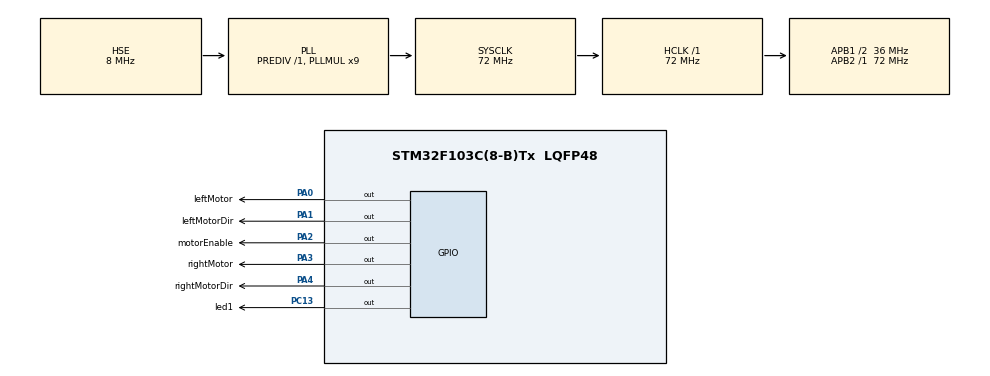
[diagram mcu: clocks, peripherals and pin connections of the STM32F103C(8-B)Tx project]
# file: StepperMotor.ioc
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Mcu.Family=STM32F1
Mcu.Name=STM32F103C(8-B)Tx
Mcu.Package=LQFP48
NVIC.PriorityGroup=NVIC_PRIORITYGROUP_4
NVIC.TIM2_IRQn=true\:0\:0\:false\:false\:true\:true
PA0-WKUP.GPIO_Label=leftMotor
PA0-WKUP.GPIO_ModeDefaultOutputPP=GPIO_MODE_OUTPUT_PP
PA0-WKUP.GPIO_Speed=GPIO_SPEED_FREQ_HIGH
PA0-WKUP.Signal=GPIO_Output
PA1.GPIO_Label=leftMotorDir
PA1.GPIO_Speed=GPIO_SPEED_FREQ_HIGH
PA1.Signal=GPIO_Output
PA13.Mode=Serial_Wire
PA13.Signal=SYS_JTMS-SWDIO
PA14.Mode=Serial_Wire
PA14.Signal=SYS_JTCK-SWCLK
PA2.GPIO_Label=motorEnable
PA2.GPIO_Speed=GPIO_SPEED_FREQ_HIGH
PA2.Signal=GPIO_Output
PA3.GPIO_Label=rightMotor
PA3.Signal=GPIO_Output
PA4.GPIO_Label=rightMotorDir
PA4.Signal=GPIO_Output
PC13-TAMPER-RTC.GPIO_Label=led1
PC13-TAMPER-RTC.Signal=GPIO_Output
PD0-OSC_IN.Mode=HSE-External-Oscillator
PD0-OSC_IN.Signal=RCC_OSC_IN
PD1-OSC_OUT.Mode=HSE-External-Oscillator
PD1-OSC_OUT.Signal=RCC_OSC_OUT
ProjectManager.HeapSize=0x200
ProjectManager.StackSize=0x400
ProjectManager.TargetToolchain=SW4STM32
RCC.AHBFreq_Value=72000000
RCC.APB1CLKDivider=RCC_HCLK_DIV2
RCC.APB1Freq_Value=36000000
RCC.APB1TimFreq_Value=72000000
RCC.APB2Freq_Value=72000000
RCC.APB2TimFreq_Value=72000000
RCC.HCLKFreq_Value=72000000
RCC.PLLMUL=RCC_PLL_MUL9
RCC.PLLSourceVirtual=RCC_PLLSOURCE_HSE
RCC.SYSCLKFreq_VALUE=72000000
RCC.SYSCLKSource=RCC_SYSCLKSOURCE_PLLCLK
RCC.USBFreq_Value=72000000
TIM2.Period=10000
TIM2.Prescaler=9
VP_TIM2_VS_ClockSourceINT.Mode=Internal
board=StepperMotor

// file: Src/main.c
/**
 ******************************************************************************
 * File Name          : main.c
 * Description        : Main program body
 ******************************************************************************
 ** This notice applies to any and all portions of this file
 * that are not between comment pairs USER CODE BEGIN and
 * USER CODE END. Other portions of this file, whether
 * inserted by the user or by software development tools
 * are owned by their respective copyright owners.
 *
 * COPYRIGHT(c) 2018 STMicroelectronics
 *
 * Redistribution and use in source and binary forms, with or without modification,
 * are permitted provided that the following conditions are met:
 *   1. Redistributions of source code must retain the above copyright notice,
 *      this list of conditions and the following disclaimer.
 *   2. Redistributions in binary form must reproduce the above copyright notice,
 *      this list of conditions and the following disclaimer in the documentation
 *      and/or other materials provided with the distribution.
 *   3. Neither the name of STMicroelectronics nor the names of its contributors
 *      may be used to endorse or promote products derived from this software
 *      without specific prior written permission.
 *
 * THIS SOFTWARE IS PROVIDED BY THE COPYRIGHT HOLDERS AND CONTRIBUTORS "AS IS"
 * AND ANY EXPRESS OR IMPLIED WARRANTIES, INCLUDING, BUT NOT LIMITED TO, THE
 * IMPLIED WARRANTIES OF MERCHANTABILITY AND FITNESS FOR A PARTICULAR PURPOSE ARE
 * DISCLAIMED. IN NO EVENT SHALL THE COPYRIGHT HOLDER OR CONTRIBUTORS BE LIABLE
 * FOR ANY DIRECT, INDIRECT, INCIDENTAL, SPECIAL, EXEMPLARY, OR CONSEQUENTIAL
 * DAMAGES (INCLUDING, BUT NOT LIMITED TO, PROCUREMENT OF SUBSTITUTE GOODS OR
 * SERVICES; LOSS OF USE, DATA, OR PROFITS; OR BUSINESS INTERRUPTION) HOWEVER
 * CAUSED AND ON ANY THEORY OF LIABILITY, WHETHER IN CONTRACT, STRICT LIABILITY,
 * OR TORT (INCLUDING NEGLIGENCE OR OTHERWISE) ARISING IN ANY WAY OUT OF THE USE
 * OF THIS SOFTWARE, EVEN IF ADVISED OF THE POSSIBILITY OF SUCH DAMAGE.
 *
 ******************************************************************************
 */

#include "main.h"
#include "stm32f1xx_hal.h"

TIM_HandleTypeDef htim2;

/* USER CODE BEGIN PV */
/* Private variables ---------------------------------------------------------*/
int initialValue;
int delayValue;
int loopFlag = 0;
int period;
int initialDelay;

MotorInfo rightMotorInfo, leftMotorInfo;
/* USER CODE END PV */

void SystemClock_Config(void);
static void MX_GPIO_Init(void);
static void MX_TIM2_Init(void);

/* USER CODE BEGIN PFP */
/* Private function prototypes -----------------------------------------------*/
void rampMotorTo(int delayValue);
void rampMotorExp(int delayValue, int initialValue);
void rampMotorExpIt(int delayValue, int initialValue);
void pulsePin(int pin);
void pulseMotorOnTimeout(MotorInfo *motor);
//void Calculation(AngleSpeed *MainInfo , MotorInfo *leftMotor , MotorInfo *rightMotor);
void calculation(AngleSpeed *MainInfo, MotorInfo *leftMotor,
		MotorInfo *rightMotor);
int getSlowRatio(int angle);
int getQuadrant(int angle);
/* USER CODE END PFP */

/* USER CODE BEGIN 0 */
void delay(volatile unsigned int delay) {
	while (delay--)
		;
}

/* USER CODE END 0 */

int main(void) {

	/* USER CODE BEGIN 1 */
	volatile int i = 1;
	/* USER CODE END 1 */

	/* MCU Configuration----------------------------------------------------------*/

	/* Reset of all peripherals, Initializes the Flash interface and the Systick. */
	HAL_Init();

	/* Configure the system clock */
	SystemClock_Config();

	/* Initialize all configured peripherals */
	MX_GPIO_Init();
	MX_TIM2_Init();

	/* Infinite loop */
	/* USER CODE BEGIN WHILE */
//  rampMotorExp(750, 20000);
//  rampMotorTo(750);
	/*leftMotorInfo.reloadPeriod = 800;
	 leftMotorInfo.stepPeriod = 20000;
	 leftMotorInfo.prevStepPeriod= 20000;
	 leftMotorInfo.expDelay = 72000000 / (ACCELERATION * leftMotorInfo.stepPeriod);

	 rightMotorInfo.reloadPeriod = 2500;
	 rightMotorInfo.stepPeriod = 15000;
	 rightMotorInfo.prevStepPeriod= 15000;
	 rightMotorInfo.expDelay = 72000000 / (ACCELERATION * rightMotorInfo.stepPeriod);

	 htim2.Init.Period = rightMotorInfo.stepPeriod;
	 HAL_TIM_Base_Init(&htim2);
	 HAL_TIM_Base_Start_IT(&htim2);*/

	HAL_GPIO_WritePin(motorEnable_GPIO_Port, motorEnable_Pin, 0);
	leftMotorInfo.stepPeriod = 67500;
	leftMotorInfo.prevStepPeriod = 67500;

	rightMotorInfo.stepPeriod = 67500;
	rightMotorInfo.prevStepPeriod = 67500;

	AngleSpeed angleSpeed = { .Speed = 50, .Angle = 0 };
	calculation(&angleSpeed, &leftMotorInfo, &rightMotorInfo);
	htim2.Init.Period = rightMotorInfo.stepPeriod;
	HAL_TIM_Base_Init(&htim2);
	HAL_TIM_Base_Start_IT(&htim2);
	while (1) {
		HAL_Delay(5000);
		angleSpeed.Speed = 100;
		angleSpeed.Angle = 180;
		calculation(&angleSpeed, &leftMotorInfo, &rightMotorInfo);

		HAL_Delay(5000);
		angleSpeed.Speed = 100;
		angleSpeed.Angle = 0;
		calculation(&angleSpeed, &leftMotorInfo, &rightMotorInfo);
		/*HAL_Delay(3000);
		angleSpeed.Speed = 100;
		angleSpeed.Angle = 90;
		calculation(&angleSpeed, &leftMotorInfo, &rightMotorInfo);

		HAL_Delay(3000);
		angleSpeed.Speed = 100;
		angleSpeed.Angle = 135;
		calculation(&angleSpeed, &leftMotorInfo, &rightMotorInfo);

		HAL_Delay(3000);
		angleSpeed.Speed = 100;
		angleSpeed.Angle = 180;
		calculation(&angleSpeed, &leftMotorInfo, &rightMotorInfo);

		HAL_Delay(3000);
		angleSpeed.Speed = 100;
		angleSpeed.Angle = 225;
		calculation(&angleSpeed, &leftMotorInfo, &rightMotorInfo);

		HAL_Delay(3000);
		angleSpeed.Speed = 100;
		angleSpeed.Angle = 270;
		calculation(&angleSpeed, &leftMotorInfo, &rightMotorInfo);*/

		//few things to update when android command comes:
		// 1.
		/*HAL_Delay(3000);
		 leftMotorInfo.reloadPeriod = 20000;
		 rightMotorInfo.reloadPeriod = 20000;
		 rightMotorInfo.expDelay = 72000000 / (ACCELERATION * rightMotorInfo.prevStepPeriod);
		 leftMotorInfo.expDelay = 72000000 / (ACCELERATION * leftMotorInfo.prevStepPeriod);

		 HAL_Delay(1000);
		 leftMotorInfo.reloadPeriod = 2500;
		 rightMotorInfo.reloadPeriod = 750;
		 rightMotorInfo.expDelay = 72000000 / (ACCELERATION * rightMotorInfo.prevStepPeriod);
		 leftMotorInfo.expDelay = 72000000 / (ACCELERATION * leftMotorInfo.prevStepPeriod);
		 HAL_Delay(3000);*/

		/*if(loopFlag){
		 HAL_GPIO_WritePin(GPIOA, motorStep_Pin, GPIO_PIN_SET);
		 HAL_GPIO_WritePin(GPIOA, motorStep_Pin, GPIO_PIN_RESET);
		 delay(750);
		 }*/
//	  HAL_GPIO_WritePin(GPIOA, motorStep_Pin, GPIO_PIN_SET);
//	  HAL_GPIO_WritePin(GPIOA, motorStep_Pin, GPIO_PIN_RESET);
//	  delay(15000);
//	  rampMotorExpIt(750, 20000);
//	  HAL_Delay(500);
//	  rampMotorExpIt(20000, 750);
//	  HAL_Delay(500);
//	  rampMotorExpIt(750, 2500);
//	  HAL_Delay(500);
		/* USER CODE END WHILE */

		/* USER CODE BEGIN 3 */
//	  HAL_GPIO_WritePin(GPIOA, motorStep_Pin, GPIO_PIN_RESET);
//	  HAL_GPIO_WritePin(GPIOA, motorEnable_Pin, GPIO_PIN_SET);
	}

	HAL_GPIO_WritePin(GPIOA, motorStep_Pin, GPIO_PIN_RESET);
	HAL_GPIO_WritePin(GPIOA, motorEnable_Pin, GPIO_PIN_SET);
	while (1)
		;
	/* USER CODE END 3 */

}

/** System Clock Configuration
 */
void SystemClock_Config(void) {

	RCC_OscInitTypeDef RCC_OscInitStruct;
	RCC_ClkInitTypeDef RCC_ClkInitStruct;

	/**Initializes the CPU, AHB and APB busses clocks
	 */
	RCC_OscInitStruct.OscillatorType = RCC_OSCILLATORTYPE_HSE;
	RCC_OscInitStruct.HSEState = RCC_HSE_ON;
	RCC_OscInitStruct.HSEPredivValue = RCC_HSE_PREDIV_DIV1;
	RCC_OscInitStruct.HSIState = RCC_HSI_ON;
	RCC_OscInitStruct.PLL.PLLState = RCC_PLL_ON;
	RCC_OscInitStruct.PLL.PLLSource = RCC_PLLSOURCE_HSE;
	RCC_OscInitStruct.PLL.PLLMUL = RCC_PLL_MUL9;
	if (HAL_RCC_OscConfig(&RCC_OscInitStruct) != HAL_OK) {
		_Error_Handler(__FILE__, __LINE__);
	}

	/**Initializes the CPU, AHB and APB busses clocks
	 */
	RCC_ClkInitStruct.ClockType = RCC_CLOCKTYPE_HCLK | RCC_CLOCKTYPE_SYSCLK
			| RCC_CLOCKTYPE_PCLK1 | RCC_CLOCKTYPE_PCLK2;
	RCC_ClkInitStruct.SYSCLKSource = RCC_SYSCLKSOURCE_PLLCLK;
	RCC_ClkInitStruct.AHBCLKDivider = RCC_SYSCLK_DIV1;
	RCC_ClkInitStruct.APB1CLKDivider = RCC_HCLK_DIV2;
	RCC_ClkInitStruct.APB2CLKDivider = RCC_HCLK_DIV1;

	if (HAL_RCC_ClockConfig(&RCC_ClkInitStruct, FLASH_LATENCY_2) != HAL_OK) {
		_Error_Handler(__FILE__, __LINE__);
	}

	/**Configure the Systick interrupt time
	 */
	HAL_SYSTICK_Config(HAL_RCC_GetHCLKFreq() / 1000);

	/**Configure the Systick
	 */
	HAL_SYSTICK_CLKSourceConfig(SYSTICK_CLKSOURCE_HCLK);

	/* SysTick_IRQn interrupt configuration */
	HAL_NVIC_SetPriority(SysTick_IRQn, 0, 0);
}

/* TIM2 init function */
static void MX_TIM2_Init(void) {

	TIM_ClockConfigTypeDef sClockSourceConfig;
	TIM_MasterConfigTypeDef sMasterConfig;

	htim2.Instance = TIM2;
	htim2.Init.Prescaler = 9;
	htim2.Init.CounterMode = TIM_COUNTERMODE_UP;
	htim2.Init.Period = 10000;
	htim2.Init.ClockDivision = TIM_CLOCKDIVISION_DIV1;
	htim2.Init.AutoReloadPreload = TIM_AUTORELOAD_PRELOAD_DISABLE;
	if (HAL_TIM_Base_Init(&htim2) != HAL_OK) {
		_Error_Handler(__FILE__, __LINE__);
	}

	sClockSourceConfig.ClockSource = TIM_CLOCKSOURCE_INTERNAL;
	if (HAL_TIM_ConfigClockSource(&htim2, &sClockSourceConfig) != HAL_OK) {
		_Error_Handler(__FILE__, __LINE__);
	}

	sMasterConfig.MasterOutputTrigger = TIM_TRGO_RESET;
	sMasterConfig.MasterSlaveMode = TIM_MASTERSLAVEMODE_DISABLE;
	if (HAL_TIMEx_MasterConfigSynchronization(&htim2, &sMasterConfig)
			!= HAL_OK) {
		_Error_Handler(__FILE__, __LINE__);
	}

}

/** Configure pins as
 * Analog
 * Input
 * Output
 * EVENT_OUT
 * EXTI
 */
static void MX_GPIO_Init(void) {

	GPIO_InitTypeDef GPIO_InitStruct;

	/* GPIO Ports Clock Enable */
	__HAL_RCC_GPIOC_CLK_ENABLE()
	;
	__HAL_RCC_GPIOD_CLK_ENABLE()
	;
	__HAL_RCC_GPIOA_CLK_ENABLE()
	;

	/*Configure GPIO pin Output Level */
	HAL_GPIO_WritePin(led1_GPIO_Port, led1_Pin, GPIO_PIN_RESET);

	/*Configure GPIO pin Output Level */
	HAL_GPIO_WritePin(GPIOA,
			leftMotor_Pin | leftMotorDir_Pin | motorEnable_Pin | rightMotor_Pin
					| rightMotorDir_Pin, GPIO_PIN_RESET);

	/*Configure GPIO pin : led1_Pin */
	GPIO_InitStruct.Pin = led1_Pin;
	GPIO_InitStruct.Mode = GPIO_MODE_OUTPUT_PP;
	GPIO_InitStruct.Speed = GPIO_SPEED_FREQ_LOW;
	HAL_GPIO_Init(led1_GPIO_Port, &GPIO_InitStruct);

	/*Configure GPIO pins : leftMotor_Pin leftMotorDir_Pin motorEnable_Pin */
	GPIO_InitStruct.Pin = leftMotor_Pin | leftMotorDir_Pin | motorEnable_Pin;
	GPIO_InitStruct.Mode = GPIO_MODE_OUTPUT_PP;
	GPIO_InitStruct.Speed = GPIO_SPEED_FREQ_HIGH;
	HAL_GPIO_Init(GPIOA, &GPIO_InitStruct);

	/*Configure GPIO pins : rightMotor_Pin rightMotorDir_Pin */
	GPIO_InitStruct.Pin = rightMotor_Pin | rightMotorDir_Pin;
	GPIO_InitStruct.Mode = GPIO_MODE_OUTPUT_PP;
	GPIO_InitStruct.Speed = GPIO_SPEED_FREQ_LOW;
	HAL_GPIO_Init(GPIOA, &GPIO_InitStruct);

}

/* USER CODE BEGIN 4 */
void xHAL_TIM_PeriodElapsedCallback(TIM_HandleTypeDef *htim) {
	HAL_GPIO_WritePin(GPIOA, motorStep_Pin, GPIO_PIN_SET);
	HAL_GPIO_WritePin(GPIOA, motorStep_Pin, GPIO_PIN_RESET);
}

void HAL_TIM_PeriodElapsedCallback(TIM_HandleTypeDef *htim) {
	pulseMotorOnTimeout(&leftMotorInfo);
	pulseMotorOnTimeout(&rightMotorInfo);

	int numOfActive = 0;
	unsigned long timeout;

	timeout = leftMotorInfo.stepPeriod;
	timeout =
			timeout <= rightMotorInfo.stepPeriod ?
					timeout : rightMotorInfo.stepPeriod;
	//  printf("timeout = %d\n", timeout);
	if (IS_MOTOR_ACTIVE(leftMotorInfo)) {

		leftMotorInfo.stepPeriod -= timeout;
		numOfActive++;
	}
	if (IS_MOTOR_ACTIVE(rightMotorInfo)) {

		rightMotorInfo.stepPeriod -= timeout;
		numOfActive++;
	}
	if (numOfActive > 0)
		htim2.Instance->ARR = timeout;
//     timer0_write(ESP.getCycleCount() + timeout);
	else {
//     printf("detach called");
//     timer0_detachInterrupt();
//     isTimerOn = 0;
	}

	/*int i;
	 if(period > delayValue){

	 HAL_GPIO_WritePin(GPIOA, motorStep_Pin, GPIO_PIN_SET);
	 HAL_GPIO_WritePin(GPIOA, motorStep_Pin, GPIO_PIN_RESET);
	 htim2.Instance->ARR = period;
	 initialDelay += RAMP_RATE;
	 period = 72000000 / (ACCELERATION * initialDelay);
	 }
	 else{
	 loopFlag = 1;
	 }*/
}

void pulseMotorOnTimeout(MotorInfo *motor) {
	if (motor->stepPeriod < 2000 && motor->reloadPeriod != 0) {
		if (motor == &leftMotorInfo) {
			pulsePin(leftMotor_Pin);
			HAL_GPIO_WritePin(leftMotorDir_GPIO_Port, leftMotorDir_Pin,
					leftMotorInfo.curDir);
		} else {
			pulsePin(rightMotor_Pin);
			HAL_GPIO_WritePin(rightMotorDir_GPIO_Port, rightMotorDir_Pin,
					rightMotorInfo.curDir);
		}

		if (motor->prevStepPeriod > 56000) {
			motor->curDir = motor->dir;
		}
		if (motor->curDir != motor->dir) {
			//ramp to zero
			motor->expDelay -= RAMP_RATE * 2; //ramp faster
			motor->prevStepPeriod = 72000000 / (ACCELERATION * motor->expDelay);
			motor->stepPeriod += motor->prevStepPeriod;
		} else {
			if (motor->prevStepPeriod > (motor->reloadPeriod + THRESHOLD_GAP)) {
				motor->expDelay += RAMP_RATE;
				motor->prevStepPeriod = 72000000
						/ (ACCELERATION * motor->expDelay);
				motor->stepPeriod += motor->prevStepPeriod;
			} else if (motor->prevStepPeriod
					< (motor->reloadPeriod - THRESHOLD_GAP)) {
				motor->expDelay -= RAMP_RATE;
				motor->prevStepPeriod = 72000000
						/ (ACCELERATION * motor->expDelay);
				motor->stepPeriod += motor->prevStepPeriod;
			} else {
				motor->stepPeriod += motor->reloadPeriod;
				motor->prevStepPeriod = motor->stepPeriod;
				//calculate expDelay so that the when next speed request is fasterm expDelay can be used straight away
			}
		}
	}
}

void pulsePin(int pin) {
	HAL_GPIO_WritePin(GPIOA, pin, GPIO_PIN_SET);
	HAL_GPIO_WritePin(GPIOA, pin, GPIO_PIN_RESET);
}

// 1. android update speed and angle
// 2. calculate related leftmotor and right motor reloadPeriod
// 3. accelerate/deaccelerate both motor at the same acceleration to reach the reload period

// TEST1.

void rampMotorTo(int delayValue) {
	uint32_t i, currentDelay = INITIAL_DELAY;
	while (currentDelay > delayValue) {
		for (i = 0; i < NO_RAMP_CYCLE; i++) {
			HAL_GPIO_WritePin(GPIOA, motorStep_Pin, GPIO_PIN_SET);
			delay(currentDelay);
			HAL_GPIO_WritePin(GPIOA, motorStep_Pin, GPIO_PIN_RESET);
			delay(currentDelay);
		}
		currentDelay -= RAMP_RATE;
	}
	while (1) {
		HAL_GPIO_WritePin(GPIOA, motorStep_Pin, GPIO_PIN_SET);
		delay(delayValue);
		HAL_GPIO_WritePin(GPIOA, motorStep_Pin, GPIO_PIN_RESET);
		delay(delayValue);
	}
}

void rampMotorExp(int delayValue, int initialValue) {
	int i;
	uint32_t initialDelay = 72000000 / (ACCELERATION * initialValue);

	uint32_t period = initialValue;
	while (period > delayValue) {
		for (i = 0; i < NO_RAMP_CYCLE; i++) {
			HAL_GPIO_WritePin(GPIOA, motorStep_Pin, GPIO_PIN_SET);
			HAL_GPIO_WritePin(GPIOA, motorStep_Pin, GPIO_PIN_RESET);
			delay(period);
		}
		initialDelay += RAMP_RATE;
		period = 72000000 / (ACCELERATION * initialDelay);

	}
	while (1) {
		HAL_GPIO_WritePin(GPIOA, motorStep_Pin, GPIO_PIN_SET);
		HAL_GPIO_WritePin(GPIOA, motorStep_Pin, GPIO_PIN_RESET);
		delay(period);
	}
}

void rampMotorExpIt(int delayValuei, int initialValuei) {
	initialDelay = 72000000 / (ACCELERATION * initialValuei);
	delayValue = delayValuei;
	initialValue = initialValuei;
	period = initialValue;
	htim2.Init.Period = initialValuei;
	HAL_TIM_Base_Init(&htim2);
	HAL_TIM_Base_Start_IT(&htim2);
}

void Calculation(AngleSpeed *MainInfo, MotorInfo *leftMotor,
		MotorInfo *rightMotor) {

	if (MainInfo->previousSpeed != MainInfo->Speed
			|| MainInfo->previousAngle != MainInfo->Angle) {
		// Serial.println("new speed and angle");
		//Serial.println("new speed and angle");
		//Serial.println(MainInfo->Speed);
		//Serial.println(MainInfo->Angle);
//        enableMotor();

		MainInfo->previousSpeed = MainInfo->Speed;
		MainInfo->previousAngle = MainInfo->Angle;
		int max_period;
		float tempAngle;

		if (MainInfo->Speed == 0.0) {
//      ForceStop(leftMotor ,rightMotor);
		} else {
//        enableMotor();
		}

		if (MainInfo->Angle >= 180) {
			tempAngle = 360 - MainInfo->Angle;
			leftMotor->dir = MOTOR_LEFT_BACKWARD;
			rightMotor->dir = MOTOR_RIGHT_BACKWARD;
		} else {
			tempAngle = MainInfo->Angle;
			leftMotor->dir = MOTOR_LEFT_FOWARD;
			rightMotor->dir = MOTOR_RIGHT_FOWARD;
		}

		max_period = (80000 / MainInfo->Speed);
		leftMotor->reloadPeriod = (max_period * (tempAngle / 180)) + 200;
		rightMotor->reloadPeriod = (max_period
				- (max_period * (tempAngle / 180))) + 200;
	}
}

void calculation(AngleSpeed *MainInfo, MotorInfo *leftMotor,
		MotorInfo *rightMotor) {
	int maxPeriod = MOTOR_MAX_PERIOD / (MainInfo->Speed / 100.00);

	int acute, ratio;
	int quadrant = getQuadrant(MainInfo->Angle);
	switch (quadrant) {
	case 1:
		acute = 90 - (MainInfo->Angle);
		acute = acute == 0 ? 1 : acute;
		ratio = getSlowRatio(acute);
		//left wheel will be fast, right wheel will be slow
		leftMotor->reloadPeriod = maxPeriod;
		rightMotor->reloadPeriod = ratio * maxPeriod;
		leftMotor->dir = 1;
		rightMotor->dir = 1;
		break;
	case 2:
		acute = 90 - (180 - MainInfo->Angle);
		acute = acute == 0 ? MINIMUM_ANGLE : acute;
		ratio = getSlowRatio(acute);
		leftMotor->reloadPeriod = maxPeriod;
		rightMotor->reloadPeriod = ratio * maxPeriod;
		leftMotor->dir = 0;
		rightMotor->dir = 0;
		break;
	case 3:
		acute = 90 - (MainInfo->Angle - 180);
		acute = acute == 0 ? 1 : acute;
		ratio = getSlowRatio(acute);
		rightMotor->reloadPeriod = maxPeriod;
		leftMotor->reloadPeriod = ratio * maxPeriod;
		leftMotor->dir = 0;
		rightMotor->dir = 0;
		break;
	case 4:
		acute = 90 - (360 - MainInfo->Angle);
		acute = acute == 0 ? 1 : acute;
		ratio = getSlowRatio(acute);
		rightMotor->reloadPeriod = maxPeriod;
		leftMotor->reloadPeriod = ratio * maxPeriod;
		leftMotor->dir = 1;
		rightMotor->dir = 1;
		break;
	}
	//expDelay needs to be reload here for some reason that needs investigate
	leftMotor->expDelay = 72000000 / (ACCELERATION * leftMotor->prevStepPeriod);
	rightMotor->expDelay = 72000000
			/ (ACCELERATION * rightMotor->prevStepPeriod);
}

int getSlowRatio(int angle) {
	return 1 / (angle / 90.000);
}

int getQuadrant(int angle) {
	return (angle / 90) + 1;
}

/* USER CODE END 4 */

void _Error_Handler(char * file, int line) {
	while (1) {
	}
}

/************************ (C) COPYRIGHT STMicroelectronics *****END OF FILE****/
